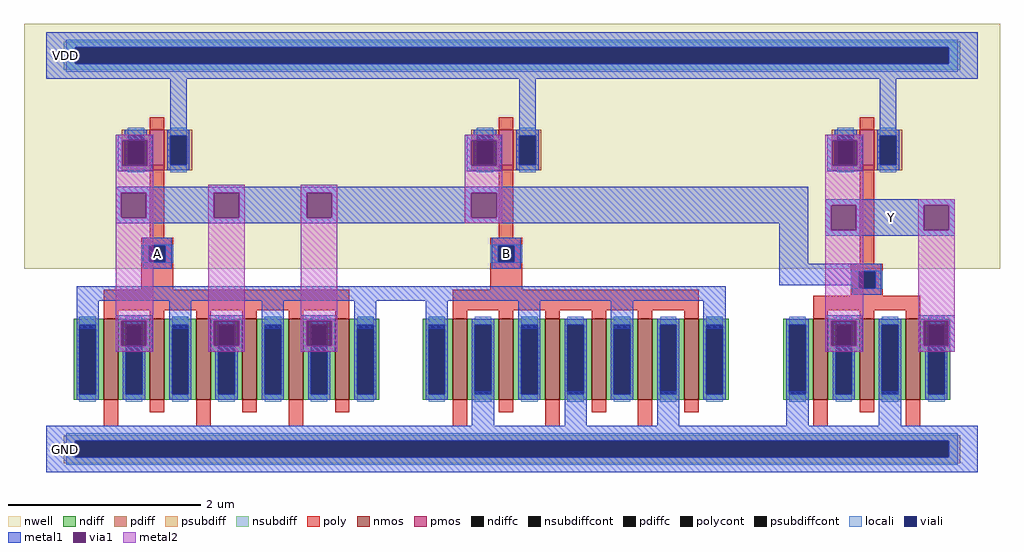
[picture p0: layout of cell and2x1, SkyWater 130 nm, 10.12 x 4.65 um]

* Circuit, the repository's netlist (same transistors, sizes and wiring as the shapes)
** sch_path: /foss/designs/and2x1.sch
.subckt and2x1 A B VDD GND Y
*.PININFO A:I B:I VDD:B GND:B Y:O
XM2 net1 A net2 GND sky130_fd_pr__nfet_01v8 L=0.15 W=5.04 nf=6
XM3 net1 A VDD VDD sky130_fd_pr__pfet_01v8 L=0.15 W=0.42 nf=1
XM5 Y net1 GND GND sky130_fd_pr__nfet_01v8 L=0.15 W=2.52 nf=3
XM4 net1 B VDD VDD sky130_fd_pr__pfet_01v8 L=0.15 W=0.42 nf=1
XM6 Y net1 VDD VDD sky130_fd_pr__pfet_01v8 L=0.15 W=0.42 nf=1
XM1 net2 B GND GND sky130_fd_pr__nfet_01v8 L=0.15 W=5.04 nf=6
.ends

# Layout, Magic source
magic
tech sky130A
magscale 1 2
<< nwell >>
rect -46 374 1978 882
<< psubdiff >>
rect 36 17 1896 29
rect 36 -17 60 17
rect 1872 -17 1896 17
rect 36 -29 1896 -17
<< nsubdiff >>
rect 36 833 1896 845
rect 36 799 60 833
rect 1872 799 1896 833
rect 36 787 1896 799
<< psubdiffcont >>
rect 60 -17 1872 17
<< nsubdiffcont >>
rect 60 799 1872 833
<< poly >>
rect 215 438 245 590
rect 939 438 969 590
rect 197 422 263 438
rect 197 388 213 422
rect 247 388 263 422
rect 197 330 263 388
rect 921 422 987 438
rect 921 388 937 422
rect 971 388 987 422
rect 921 330 987 388
rect 1687 384 1717 590
rect 1669 368 1735 384
rect 1669 334 1685 368
rect 1719 334 1735 368
rect 119 288 629 330
rect 843 288 1353 330
rect 1669 318 1735 334
rect 1591 288 1813 318
<< polycont >>
rect 213 388 247 422
rect 937 388 971 422
rect 1685 334 1719 368
<< locali >>
rect 42 833 1890 849
rect 42 799 60 833
rect 1872 799 1890 833
rect 42 783 1890 799
rect 197 422 263 424
rect 197 388 213 422
rect 247 388 263 422
rect 197 386 263 388
rect 921 422 987 424
rect 921 388 937 422
rect 971 388 987 422
rect 921 386 987 388
rect 1669 368 1735 370
rect 1669 334 1685 368
rect 1719 334 1735 368
rect 1669 332 1735 334
rect 42 17 1890 33
rect 42 -17 60 17
rect 1872 -17 1890 17
rect 42 -33 1890 -17
<< viali >>
rect 60 799 1872 833
rect 213 388 247 422
rect 937 388 971 422
rect 1685 334 1719 368
rect 60 -17 1872 17
<< metal1 >>
rect 0 833 1932 864
rect 0 799 60 833
rect 1872 799 1932 833
rect 0 768 1932 799
rect 148 640 220 652
rect 257 650 291 768
rect 148 588 158 640
rect 210 588 220 640
rect 148 576 220 588
rect 872 640 944 652
rect 981 650 1015 768
rect 872 588 882 640
rect 934 588 944 640
rect 872 576 944 588
rect 1620 640 1692 652
rect 1729 650 1763 768
rect 1620 588 1630 640
rect 1682 588 1692 640
rect 1620 576 1692 588
rect 144 532 1580 544
rect 144 480 156 532
rect 208 480 348 532
rect 400 480 540 532
rect 592 480 882 532
rect 934 480 1580 532
rect 144 468 1580 480
rect 200 422 260 438
rect 200 388 213 422
rect 247 388 260 422
rect 200 374 260 388
rect 924 422 984 438
rect 924 388 937 422
rect 971 388 984 422
rect 924 374 984 388
rect 1520 384 1580 468
rect 1616 506 1884 518
rect 1616 454 1628 506
rect 1680 454 1820 506
rect 1872 454 1884 506
rect 1616 442 1884 454
rect 1520 368 1732 384
rect 1520 340 1685 368
rect 63 308 1409 338
rect 1672 334 1685 340
rect 1719 334 1732 368
rect 1672 320 1732 334
rect 63 250 109 308
rect 144 266 220 278
rect 144 214 156 266
rect 208 214 220 266
rect 255 250 301 308
rect 336 266 412 278
rect 144 202 220 214
rect 336 214 348 266
rect 400 214 412 266
rect 447 250 493 308
rect 528 266 604 278
rect 336 202 412 214
rect 528 214 540 266
rect 592 214 604 266
rect 639 250 685 308
rect 787 250 833 308
rect 979 250 1025 308
rect 1171 250 1217 308
rect 1363 250 1409 308
rect 1616 266 1692 278
rect 528 202 604 214
rect 1616 214 1628 266
rect 1680 214 1692 266
rect 1616 202 1692 214
rect 1808 266 1884 278
rect 1808 214 1820 266
rect 1872 214 1884 266
rect 1808 202 1884 214
rect 883 48 929 120
rect 1075 48 1121 120
rect 1267 48 1313 120
rect 1535 48 1581 120
rect 1727 48 1773 120
rect 0 17 1932 48
rect 0 -17 60 17
rect 1872 -17 1932 17
rect 0 -48 1932 -17
<< via1 >>
rect 158 588 210 640
rect 882 588 934 640
rect 1630 588 1682 640
rect 156 480 208 532
rect 348 480 400 532
rect 540 480 592 532
rect 882 480 934 532
rect 1628 454 1680 506
rect 1820 454 1872 506
rect 156 214 208 266
rect 348 214 400 266
rect 540 214 592 266
rect 1628 214 1680 266
rect 1820 214 1872 266
<< metal2 >>
rect 144 640 222 652
rect 144 588 158 640
rect 210 588 222 640
rect 144 532 222 588
rect 868 640 946 652
rect 868 588 882 640
rect 934 588 946 640
rect 144 480 156 532
rect 208 480 222 532
rect 144 266 222 480
rect 144 214 156 266
rect 208 214 222 266
rect 144 202 222 214
rect 336 532 412 548
rect 336 480 348 532
rect 400 480 412 532
rect 336 266 412 480
rect 336 214 348 266
rect 400 214 412 266
rect 336 202 412 214
rect 528 532 604 548
rect 528 480 540 532
rect 592 480 604 532
rect 528 266 604 480
rect 868 532 946 588
rect 868 480 882 532
rect 934 480 946 532
rect 868 468 946 480
rect 1616 640 1694 652
rect 1616 588 1630 640
rect 1682 588 1694 640
rect 1616 506 1694 588
rect 528 214 540 266
rect 592 214 604 266
rect 528 202 604 214
rect 1616 454 1628 506
rect 1680 454 1694 506
rect 1616 266 1694 454
rect 1616 214 1628 266
rect 1680 214 1694 266
rect 1616 202 1694 214
rect 1808 506 1884 518
rect 1808 454 1820 506
rect 1872 454 1884 506
rect 1808 266 1884 454
rect 1808 214 1820 266
rect 1872 214 1884 266
rect 1808 202 1884 214
use sky130_fd_pr__nfet_01v8_6WXBLA  xna
transform 1 0 374 0 1 186
box -317 -139 317 139
use sky130_fd_pr__nfet_01v8_6WXBLA  xnb
transform 1 0 1098 0 1 186
box -317 -139 317 139
use sky130_fd_pr__nfet_01v8_RPKUUV  xni
transform 1 0 1702 0 1 186
box -173 -139 173 139
use sky130_fd_pr__pfet_01v8_YNU6YZ  xpa
transform 1 0 230 0 1 620
box -109 -104 109 104
use sky130_fd_pr__pfet_01v8_YNU6YZ  xpb
transform 1 0 954 0 1 620
box -109 -104 109 104
use sky130_fd_pr__pfet_01v8_YNU6YZ  xpi
transform 1 0 1702 0 1 620
box -109 -104 109 104
<< labels >>
rlabel metal1 200 374 260 438 0 A
port 1 nsew
rlabel metal1 924 374 984 438 0 B
port 2 nsew
rlabel metal1 1712 460 1792 500 0 Y
port 3 nsew
rlabel metal1 10 780 70 852 0 VDD
port 4 nsew
rlabel metal1 10 -36 70 36 0 GND
port 5 nsew
<< properties >>
string FIXED_BBOX 0 0 1932 816
<< end >>

# cell sky130_fd_pr__nfet_01v8_6WXBLA: kit device sky130_fd_pr__nfet_01v8, w 0.84 l 0.15 m 1 nf 6 diffcov 100 polycov 100 guard 0 glc 1 grc 1 gtc 1 gbc 1 tbcov 100 rlcov 100 topc 0 botc 0 poverlap 0 doverlap 1 lmin 0.15 wmin 0.42 class mosfet compatible {sky130_fd_pr__nfet_01v8 sky130_fd_pr__nfet_01v8_lvt sky130_fd_bs_flash__special_sonosfet_star sky130_fd_pr__nfet_g5v0d10v5 sky130_fd_pr__nfet_05v0_nvt sky130_fd_pr__nfet_03v3_nvt} full_metal 1 conn_gates 0 viasrc 100 viadrn 100 viagate 100 viagb 0 viagr 0 viagl 0 viagt 0 doports 1

# cell sky130_fd_pr__nfet_01v8_RPKUUV: kit device sky130_fd_pr__nfet_01v8, w 0.84 l 0.15 m 1 nf 3 diffcov 100 polycov 100 guard 0 glc 1 grc 1 gtc 1 gbc 1 tbcov 100 rlcov 100 topc 0 botc 0 poverlap 0 doverlap 1 lmin 0.15 wmin 0.42 class mosfet compatible {sky130_fd_pr__nfet_01v8 sky130_fd_pr__nfet_01v8_lvt sky130_fd_bs_flash__special_sonosfet_star sky130_fd_pr__nfet_g5v0d10v5 sky130_fd_pr__nfet_05v0_nvt sky130_fd_pr__nfet_03v3_nvt} full_metal 1 conn_gates 0 viasrc 100 viadrn 100 viagate 100 viagb 0 viagr 0 viagl 0 viagt 0 doports 1

# cell sky130_fd_pr__pfet_01v8_YNU6YZ: kit device sky130_fd_pr__pfet_01v8, w 0.42 l 0.15 m 1 nf 1 diffcov 100 polycov 100 guard 0 glc 1 grc 1 gtc 1 gbc 1 tbcov 100 rlcov 100 topc 0 botc 0 poverlap 0 doverlap 1 lmin 0.15 wmin 0.42 class mosfet compatible {sky130_fd_pr__pfet_01v8 sky130_fd_pr__pfet_01v8_lvt sky130_fd_pr__pfet_01v8_hvt sky130_fd_pr__pfet_g5v0d10v5} full_metal 1 conn_gates 0 viasrc 100 viadrn 100 viagate 100 viagb 0 viagr 0 viagl 0 viagt 0 doports 1
